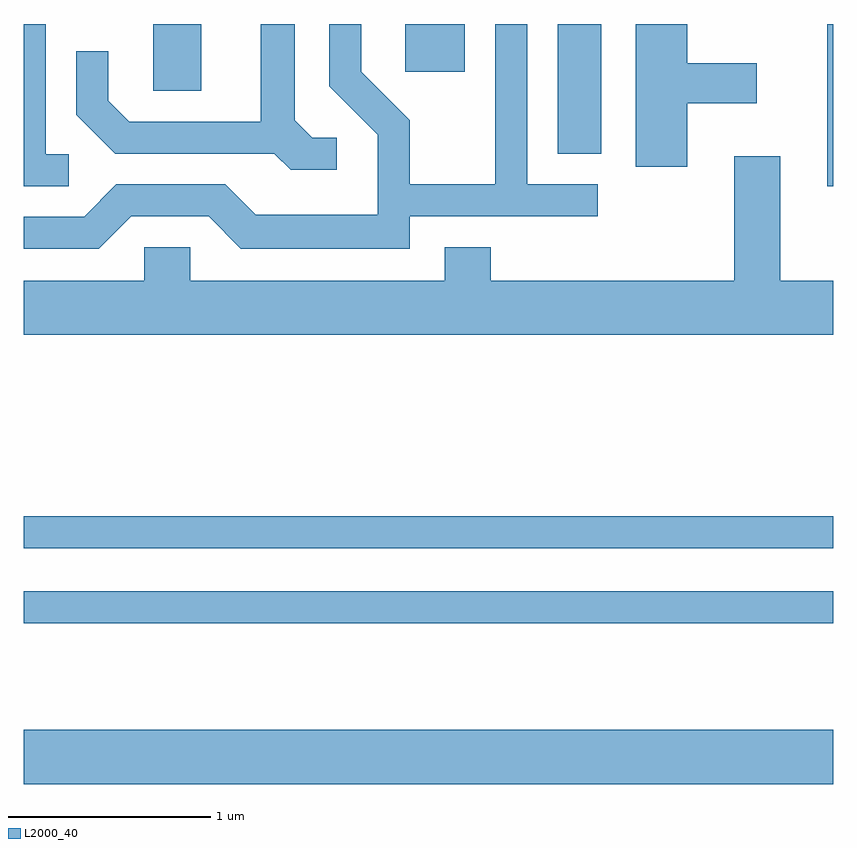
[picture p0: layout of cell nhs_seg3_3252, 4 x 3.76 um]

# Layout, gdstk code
import gdstk
lib = gdstk.Library(unit=1e-6, precision=1e-09)
def R(c, l, rs):  # rectangles x0, y0, x1, y1
    for r in rs: c.add(gdstk.rectangle(r[:2], r[2:], *l))
def P(c, l, *ps):  # polygons
    for p in ps: c.add(gdstk.Polygon(p, *l))
L2000_40 = (2000, 40)

nhs_seg3_3252 = lib.new_cell('nhs_seg3_3252')
R(nhs_seg3_3252, L2000_40, [(279.611,1228.136,283.611,1228.404), (279.611,1228.931,283.611,1229.089), (279.611,1229.301,283.611,1229.459), (283.581,1231.091,283.611,1231.892), (282.251,1231.251,282.464,1231.892), (280.251,1231.561,280.489,1231.892), (281.496,1231.656,281.789,1231.892)])
P(nhs_seg3_3252, L2000_40, [(282.889,1231.501),(283.234,1231.501),(283.234,1231.699),(282.889,1231.699),(282.889,1231.892),(282.636,1231.892),(282.636,1231.186),(282.889,1231.186)],
  [(281.158,1231.329),(281.037,1231.329),(280.949,1231.417),(280.949,1231.892),(280.781,1231.892),(280.781,1231.409),(280.132,1231.409),(280.029,1231.512),(280.029,1231.758),(279.871,1231.758),(279.871,1231.444),(280.064,1231.251),(280.849,1231.251),(280.929,1231.171),(281.158,1231.171)],
  [(279.833,1231.249),(279.719,1231.249),(279.719,1231.892),(279.611,1231.892),(279.611,1231.091),(279.833,1231.091)],
  [(280.142,1230.941),(280.524,1230.941),(280.684,1230.781),(281.519,1230.781),(281.519,1230.941),(282.448,1230.941),(282.448,1231.099),(282.099,1231.099),(282.099,1231.892),(281.941,1231.892),(281.941,1231.099),(281.519,1231.099),(281.519,1231.417),(281.279,1231.657),(281.279,1231.892),(281.121,1231.892),(281.121,1231.584),(281.361,1231.344),(281.361,1230.949),(280.757,1230.949),(280.607,1231.099),(280.069,1231.099),(279.909,1230.939),(279.611,1230.939),(279.611,1230.781),(279.982,1230.781)],
  [(283.611,1230.624),(283.349,1230.624),(283.349,1231.239),(283.121,1231.239),(283.121,1230.624),(281.919,1230.624),(281.919,1230.789),(281.691,1230.789),(281.691,1230.624),(280.434,1230.624),(280.434,1230.789),(280.206,1230.789),(280.206,1230.624),(279.611,1230.624),(279.611,1230.356),(283.611,1230.356)])

lib.write_gds('nhs_seg3_3252.gds')
